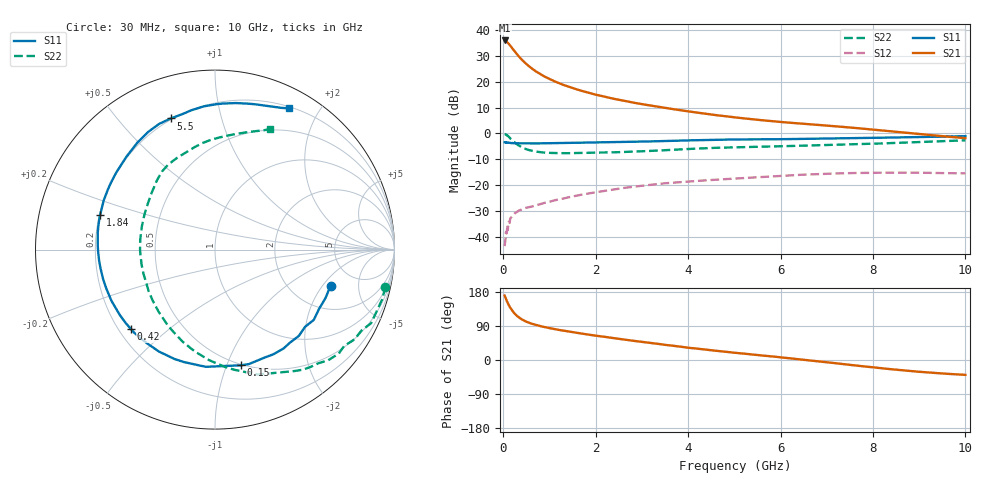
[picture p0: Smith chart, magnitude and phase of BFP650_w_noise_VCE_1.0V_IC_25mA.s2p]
! Infineon Technologies  Discrete & RF Semiconductors
! BFP650
! VCE =  1.0 V,  IC =  25 mA
! Common Emitter S-Parameters:  Jan 2016
# GHz  S  MA  R  50
!  f  S11  S21  S12  S22
! GHz  MAG  ANG  MAG  ANG  MAG  ANG  MAG  ANG
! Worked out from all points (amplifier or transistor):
!   229 points, 30 MHz to 10 GHz, reference 50 ohm
!   highest |S21| = 36.0 dB at 30 MHz (marker M1)
!   |S21| within 3 dB of that: start of sweep to 194.9 MHz
!   unconditionally stable (mu >= 1): 2.56 GHz to end of sweep
!   at 280 MHz: K = 0.29, MSG = 30.8 dB, |S12| = -30.5 dB
!   at 1.78 GHz: K = 0.93, MSG = 19.8 dB, |S12| = -23.4 dB
!   at 10 GHz: K = 1.04, MAG = 5.5 dB, |S12| = -15.4 dB
!   lowest NFmin = 0.71 dB at 450 MHz
!   S11 on the Smith chart (normalised r, x): 30 MHz: 3.26, -2.40; 150 MHz: 0.49, -1.12; 420 MHz: 0.25, -0.37; 1.84 GHz: 0.20, +0.14; 5.5 GHz: 0.19, +0.70; 10 GHz: 0.22, +1.63
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0.03  0.6743 -17.3  63.16 170.2  0.0066 90.1  0.9714 -12.4
0.05  0.6673 -29.8  61.9 163.6  0.0091 72.7  0.9644 -21.0
0.06  0.6755 -35.4  61.65 161.1  0.0125 72.8  0.9617 -25.2
0.08  0.6704 -45.8  59.51 155.2  0.0128 72.3  0.9247 -32.7
0.11  0.6678 -60.9  55.84 147.4  0.0177 69.4  0.8818 -44.4
0.15  0.6605 -77.4  50.38 138.5  0.0226 60.2  0.8086 -56.8
0.2  0.6551 -94.5  44.13 129.1  0.0254 51.9  0.7354 -71.2
0.26  0.6499 -110.3  37.66 120.7  0.029 47.1  0.6571 -85.0
0.34  0.645 -125.6  30.83 112.3  0.0323 43.8  0.583 -100.0
0.42  0.6443 -136.8  25.88 106.0  0.0343 41.8  0.5319 -112.0
0.5  0.6435 -145.4  22.12 101.0  0.0366 40.4  0.4969 -122.1
0.6  0.6436 -153.6  18.64 96.3  0.0381 40.6  0.4673 -132.3
0.9  0.6458 -169.7  12.56 86.7  0.0456 40.9  0.4262 -154.1
1.2  0.6525 179.7  9.46 79.5  0.053 41.3  0.4174 -168.4
1.7  0.6651 166.6  6.678 69.7  0.0654 40.5  0.4187 174.9
1.84  0.6681 163.4  6.16 67.1  0.0688 39.9  0.4207 171.1
3.4  0.7107 135.2  3.233 41.8  0.1065 28.5  0.47 139.3
5.1  0.7669 112.8  2.01 18.1  0.1356 13.7  0.5433 117.4
5.5  0.7712 108.6  1.841 13.0  0.1423 10.4  0.5527 112.6
6.8  0.7948 96.4  1.469 -3.1  0.1639 -1.9  0.5908 98.6
8.4  0.8348 76.8  1.103 -24.4  0.1745 -19.0  0.6526 80.2
10  0.8874 62.5  0.813 -39.2  0.1695 -30.8  0.7374 65.6
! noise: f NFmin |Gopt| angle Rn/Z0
0.45  0.71  0.07  109  2.2
0.9  0.73  0.24  -178  0.13
1.9  0.89  0.31  -164  0.05
2.4  0.97  0.32  -150  0.06
3.5  1.21  0.37  -125  0.13
